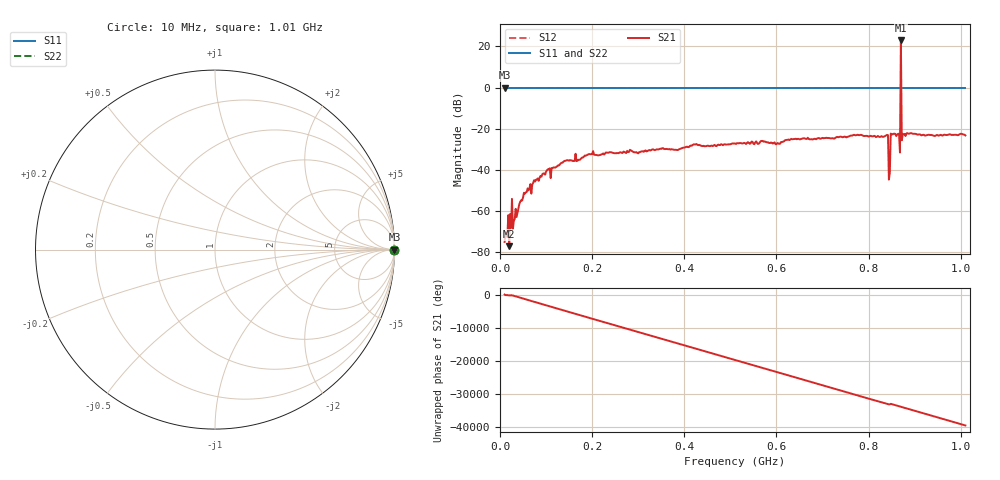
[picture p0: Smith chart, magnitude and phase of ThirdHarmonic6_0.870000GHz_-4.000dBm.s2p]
! 8/16/2025 4:43:05 AM
! C:\ANRITSUVNA\TEMP\TEMP.S2P
! CHANNEL.1
! TR.MEASUREMENT
! RAW.DATA
! RF.CORRECTION.OFF
! AVERAGING.OFF
! IF.BANDWIDTH: 5KHZ
! SWEEPTYPE:  FREQ.SWEEP(Linear)
! Reference Plane Port Info
! PORT:  PORT1  PORT2
! DISTANCE:  0  m  0  m
! TIME:  0  s  0  s
! PHASE.OFFSET:  0  deg.  0  deg.
! LOSS:  0  dB  0  dB
! REF.LOSS:  0  dB  0  dB
! REF.FREQ:  0  Hz  0  Hz
! Power Info
! POWER:  -20  dBm  -20  dBm
! EFF.POWER:  -20  dBm  -20  dBm
! SOURCE.ATTEN:  0  dB  0  dB
! TEST.ATTEN:  0  dB  0  dB
# GHZ S RI R 50.0
! FREQ.GHZ  S11RE  S11IM  S21RE  S21IM  S12RE  S12IM  S22RE  S22IM
!; PortSelection: Port_12
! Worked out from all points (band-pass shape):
!   501 points, 10 MHz to 1.01 GHz, reference 50 ohm
!   highest |S21| = 22.91 dB at 870 MHz (marker M1); lowest = -77.2 dB at 20 MHz (marker M2)
!   |S21| within 3 dB of the highest: 869.89 MHz to 870.1234 MHz (233.4 kHz wide, 0.0268 % of centre)
!   lowest |S11| = 0.0 dB at 10 MHz (marker M3)
!   |S11| at or under -10 dB: nowhere
!   |S22| runs from 0.0 to 0.0 dB; largest |S21 - S12| = 14
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0.01  1 0  -5.33e-05 0.000166  1 0  1 0
0.02  1 0  -8e-05 -0.000112  1 0  1 0
0.022  1 0  -0.000768 0.00033  1 0  1 0
0.032  1 0  0.000627 -1.64e-05  1 0  1 0
0.048  1 0  0.00073 0.00162  1 0  1 0
0.076  1 0  0.00504 0.00106  1 0  1 0
0.142  1 0  -0.0151 -0.00648  1 0  1 0
0.178  1 0  -0.019 -0.005  1 0  1 0
0.344  1 0  0.0307 -0.00555  1 0  1 0
0.51  1 0  -0.0415 0.0126  1 0  1 0
0.678  1 0  -0.0188 -0.0512  1 0  1 0
0.838  1 0  0.029 -0.0621  1 0  1 0
0.842  1 0  -0.047 0.051  1 0  1 0
0.844  1 0  -0.000163 0.00575  1 0  1 0
0.848  1 0  -0.0272 -0.0706  1 0  1 0
0.852  1 0  0.00204 0.0722  1 0  1 0
0.864  1 0  0.0601 -0.0445  1 0  1 0
0.866  1 0  -0.0338 -0.0667  1 0  1 0
0.87  1 0  -1.323 13.92  1 0  1 0
0.874  1 0  0.0125 -0.0708  1 0  1 0
0.876  1 0  -0.0689 -0.0271  1 0  1 0
1.01  1 0  -0.0627 -0.0269  1 0  1 0
